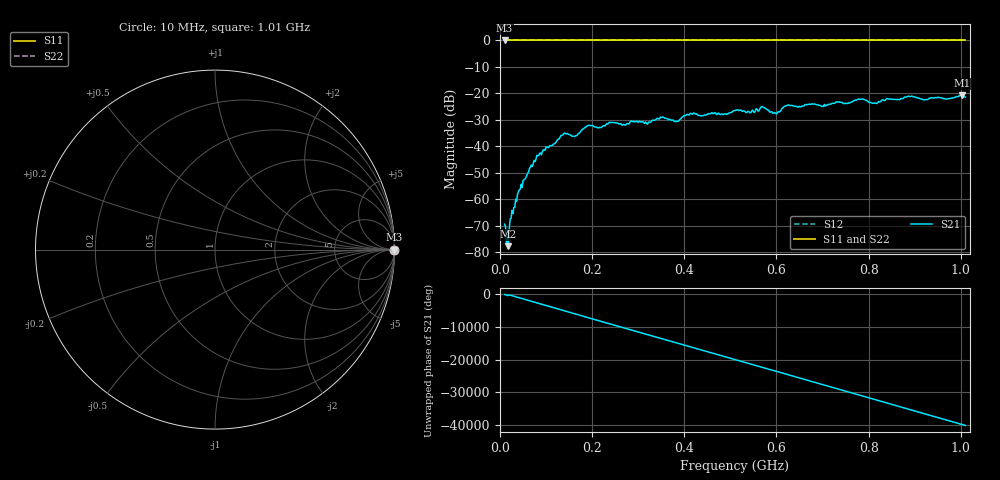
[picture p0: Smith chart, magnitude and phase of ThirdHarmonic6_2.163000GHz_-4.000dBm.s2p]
! 8/17/2025 1:48:48 AM
! C:\ANRITSUVNA\TEMP\TEMP.S2P
! CHANNEL.1
! TR.MEASUREMENT
! RAW.DATA
! RF.CORRECTION.OFF
! AVERAGING.OFF
! IF.BANDWIDTH: 5KHZ
! SWEEPTYPE:  FREQ.SWEEP(Linear)
! Reference Plane Port Info
! PORT:  PORT1  PORT2
! DISTANCE:  0  m  0  m
! TIME:  0  s  0  s
! PHASE.OFFSET:  0  deg.  0  deg.
! LOSS:  0  dB  0  dB
! REF.LOSS:  0  dB  0  dB
! REF.FREQ:  0  Hz  0  Hz
! Power Info
! POWER:  -20  dBm  -20  dBm
! EFF.POWER:  -20  dBm  -20  dBm
! SOURCE.ATTEN:  0  dB  0  dB
! TEST.ATTEN:  0  dB  0  dB
# GHZ S RI R 50.0
! FREQ.GHZ  S11RE  S11IM  S21RE  S21IM  S12RE  S12IM  S22RE  S22IM
!; PortSelection: Port_12
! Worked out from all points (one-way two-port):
!   501 points, 10 MHz to 1.01 GHz, reference 50 ohm
!   highest |S21| = -20.73 dB at 1.002 GHz (marker M1); lowest = -77.8 dB at 18 MHz (marker M2)
!   lowest |S11| = 0.0 dB at 10 MHz (marker M3)
!   |S11| at or under -10 dB: nowhere
!   |S22| runs from 0.0 to 0.0 dB; largest |S21 - S12| = 1.1
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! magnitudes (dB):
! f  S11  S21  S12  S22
! 10 MHz  0.0  -69.4  0.0  0.0
! 18 MHz  0.0  -77.8  0.0  0.0
! 26 MHz  0.0  -64.2  0.0  0.0
! 42 MHz  0.0  -56.4  0.0  0.0
! 82 MHz  0.0  -43.6  0.0  0.0
! 136 MHz  0.0  -35.7  0.0  0.0
! 162 MHz  0.0  -36.3  0.0  0.0
! 178 MHz  0.0  -33.8  0.0  0.0
! 192 MHz  0.0  -32.1  0.0  0.0
! 344 MHz  0.0  -29.7  0.0  0.0
! 382 MHz  0.0  -30.6  0.0  0.0
! 416 MHz  0.0  -27.8  0.0  0.0
! 510 MHz  0.0  -26.4  0.0  0.0
! 570 MHz  0.0  -25.1  0.0  0.0
! 596 MHz  0.0  -27.3  0.0  0.0
! 622 MHz  0.0  -24.6  0.0  0.0
! 678 MHz  0.0  -24.0  0.0  0.0
! 784 MHz  0.0  -22.2  0.0  0.0
! 814 MHz  0.0  -23.6  0.0  0.0
! 844 MHz  0.0  -22.2  0.0  0.0
! 1.002 GHz  0.0  -20.7  0.0  0.0
! 1.01 GHz  0.0  -21.4  0.0  0.0
